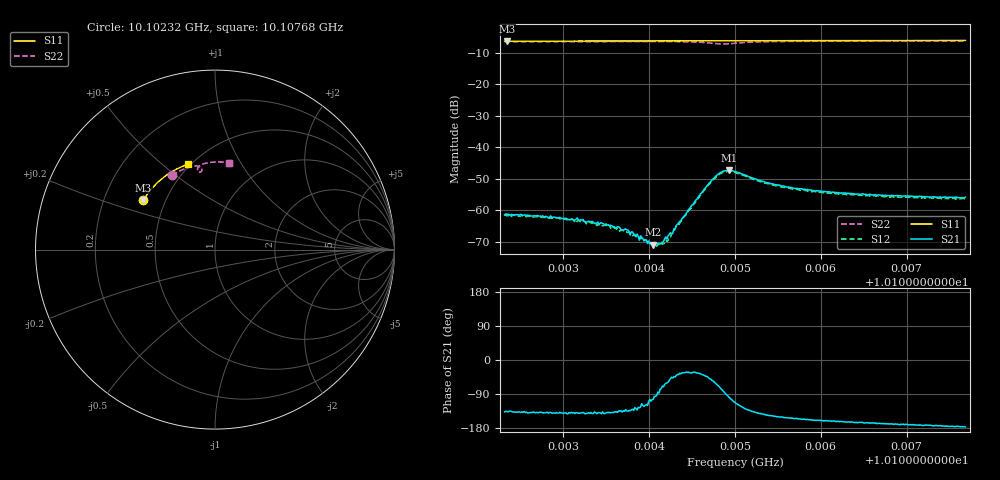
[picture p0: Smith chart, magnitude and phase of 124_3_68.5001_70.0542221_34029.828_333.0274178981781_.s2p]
#  HZ  S  RI  R  50.00
! Rohde & Schwarz Vector Network Analyzer
! Rohde-Schwarz,ZNB20-2Port,1311601062101988,3.16
! Created: UTC 3/20/2024, 5:09:15 PM
! freq[Hz]  re:S11  im:S11  re:S21  im:S21  re:S12  im:S12  re:S22  im:S22
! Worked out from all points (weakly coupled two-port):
!   401 points, 10.10232 GHz to 10.10768 GHz, reference 50 ohm
!   highest |S21| = -47.28 dB at 10.10494 GHz (marker M1); lowest = -70.9 dB at 10.10405 GHz (marker M2)
!   lowest |S11| = -6.3 dB at 10.10235 GHz (marker M3), VSWR 2.89, Z = 18.8 + j13.6 ohm
!   |S11| at or under -10 dB: nowhere
!   |S22| runs from -7.1 to -6.2 dB; largest |S21 - S12| = 0.00044
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1.0102322e10  -0.4009 0.2747  -0.000617 -0.000578  -0.000581 -0.000639  -0.2386 0.4144
1.0102349e10  -0.4 0.2759  -0.00062 -0.000598  -0.000552 -0.000604  -0.237 0.4154
1.0102925e10  -0.3803 0.3052  -0.000568 -0.0005  -0.000554 -0.000535  -0.2041 0.4344
1.010322e10  -0.3697 0.3195  -0.000536 -0.000451  -0.000505 -0.000476  -0.1865 0.4429
1.0103515e10  -0.3583 0.3335  -0.000439 -0.000393  -0.000367 -0.000409  -0.1679 0.451
1.0103743e10  -0.3491 0.3439  -0.000345 -0.00035  -0.000278 -0.00036  -0.153 0.4564
1.0104011e10  -0.3383 0.3559  -7.15e-05 -0.000286  -9.19e-05 -0.000293  -0.1344 0.4621
1.0104051e10  -0.3365 0.3576  -6.76e-05 -0.000278  -1.91e-05 -0.000295  -0.1315 0.4627
1.0104118e10  -0.3336 0.3604  1.26e-05 -0.000293  3.74e-05 -0.000288  -0.1263 0.4639
1.0104145e10  -0.3325 0.3616  7.63e-05 -0.000289  0.000105 -0.000302  -0.1242 0.4641
1.0104185e10  -0.3306 0.3634  0.000154 -0.000318  0.000164 -0.00026  -0.121 0.4648
1.0104239e10  -0.3284 0.3657  0.000246 -0.000333  0.000247 -0.000287  -0.1168 0.4655
1.0104292e10  -0.326 0.3679  0.000369 -0.000355  0.000353 -0.0003  -0.1122 0.466
1.0104614e10  -0.3117 0.3812  0.00149 -0.00117  0.00155 -0.000985  -0.0813 0.4596
1.0104761e10  -0.3049 0.3868  0.00174 -0.00279  0.00189 -0.00253  -0.0729 0.4427
1.0104855e10  -0.3006 0.3906  0.000749 -0.00407  0.00107 -0.00382  -0.0809 0.4319
1.0104936e10  -0.297 0.3935  -0.000661 -0.00428  -0.000241 -0.00414  -0.0921 0.4336
1.0105003e10  -0.2941 0.396  -0.00155 -0.00381  -0.00116 -0.00383  -0.0972 0.4413
1.0105459e10  -0.2722 0.413  -0.00221 -0.00136  -0.00199 -0.0015  -0.0708 0.475
1.0105901e10  -0.2501 0.4281  -0.00193 -0.000767  -0.00175 -0.000894  -0.0383 0.4838
1.0106799e10  -0.2025 0.4546  -0.00169 -0.000332  -0.00156 -0.000483  0.0224 0.4885
1.0107684e10  -0.1531 0.4755  -0.00162 -9.6e-05  -0.0015 -0.00025  0.0799 0.4847
